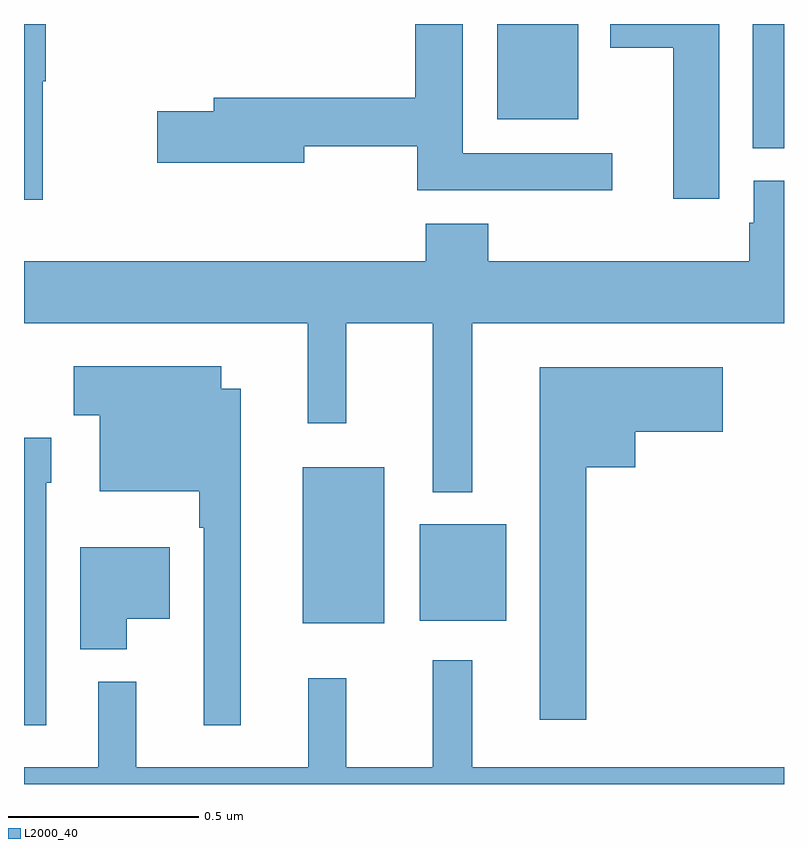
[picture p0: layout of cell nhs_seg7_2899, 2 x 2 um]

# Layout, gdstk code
import gdstk
lib = gdstk.Library(unit=1e-6, precision=1e-09)
def R(c, l, rs):  # rectangles x0, y0, x1, y1
    for r in rs: c.add(gdstk.rectangle(r[:2], r[2:], *l))
def P(c, l, *ps):  # polygons
    for p in ps: c.add(gdstk.Polygon(p, *l))
L2000_40 = (2000, 40)

nhs_seg7_2899 = lib.new_cell('nhs_seg7_2899')
R(nhs_seg7_2899, L2000_40, [(151.733,1070.423,151.948,1070.833), (152.042,1070.429,152.269,1070.683), (152.918,1071.673,153,1072), (152.246,1071.749,152.458,1072)])
P(nhs_seg7_2899, L2000_40, [(152.83,1072),(152.543,1072),(152.543,1071.938),(152.708,1071.938),(152.708,1071.54),(152.83,1071.54)],
  [(151.049,1071.849),(151.057,1071.849),(151.057,1072),(151,1072),(151,1071.537),(151.049,1071.537)],
  [(152.548,1071.66),(152.155,1071.66),(152.155,1072),(152.03,1072),(152.03,1071.806),(151.499,1071.806),(151.499,1071.77),(151.35,1071.77),(151.35,1071.635),(151.738,1071.635),(151.738,1071.678),(152.035,1071.678),(152.035,1071.563),(152.548,1071.563)],
  [(152.075,1070.768),(152.179,1070.768),(152.179,1071.212),(153,1071.212),(153,1071.588),(152.921,1071.588),(152.921,1071.477),(152.909,1071.477),(152.909,1071.376),(152.222,1071.376),(152.222,1071.475),(152.057,1071.475),(152.057,1071.376),(151,1071.376),(151,1071.212),(151.747,1071.212),(151.747,1070.949),(151.848,1070.949),(151.848,1071.212),(152.075,1071.212)],
  [(151.57,1071.04),(151.519,1071.04),(151.519,1071.1),(151.131,1071.1),(151.131,1070.971),(151.199,1070.971),(151.199,1070.771),(151.461,1070.771),(151.461,1070.675),(151.473,1070.675),(151.473,1070.154),(151.57,1070.154)],
  [(152.479,1070.834),(152.608,1070.834),(152.608,1070.927),(152.839,1070.927),(152.839,1071.097),(152.357,1071.097),(152.357,1070.169),(152.479,1070.169)],
  [(151.059,1070.793),(151.072,1070.793),(151.072,1070.911),(151,1070.911),(151,1070.154),(151.059,1070.154)],
  [(151.27,1070.435),(151.384,1070.435),(151.384,1070.623),(151.148,1070.623),(151.148,1070.354),(151.27,1070.354)],
  [(152.075,1070.326),(152.075,1070.044),(151.848,1070.044),(151.848,1070.278),(151.748,1070.278),(151.748,1070.044),(151.295,1070.044),(151.295,1070.269),(151.196,1070.269),(151.196,1070.044),(151,1070.044),(151,1070),(153,1070),(153,1070.044),(152.179,1070.044),(152.179,1070.326)])

lib.write_gds('nhs_seg7_2899.gds')
